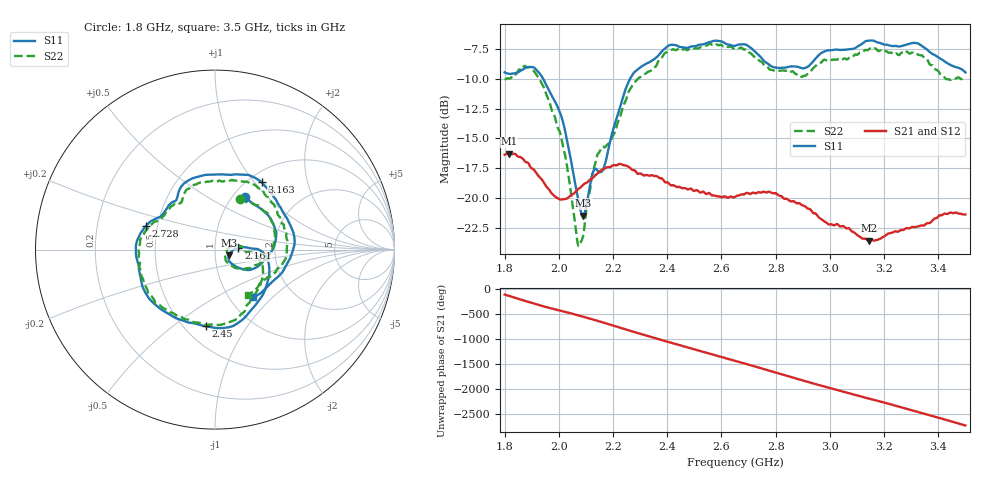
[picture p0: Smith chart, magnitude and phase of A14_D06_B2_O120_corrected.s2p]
! Created with skrf 1.9.0 (http://scikit-rf.org).
# Hz S RI R 50.0
!freq ReS11 ImS11 ReS21 ImS21 ReS12 ImS12 ReS22 ImS22
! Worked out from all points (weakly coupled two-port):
!   1601 points, 1.8 GHz to 3.5 GHz, reference 50 ohm
!   highest |S21| = -16.28 dB at 1.816 GHz (marker M1); lowest = -23.6 dB at 3.144 GHz (marker M2)
!   lowest |S11| = -21.5 dB at 2.09 GHz (marker M3), VSWR 1.18, Z = 58.4 - j3.68 ohm
!   |S11| at or under -10 dB: 1.942 GHz to 2.263 GHz (320.5 MHz wide, 15.2 % of centre)
!   |S22| runs from -24.1 to -7.0 dB; largest |S21 - S12| = 0.0025
!   S11 on the Smith chart (normalised r, x): 1.8 GHz: 1.13, +0.75; 2.161 GHz: 1.30, +0.02; 2.45 GHz: 0.63, -0.66; 2.728 GHz: 0.43, +0.13; 3.163 GHz: 1.15, +1.09; 3.5 GHz: 1.28, -0.76
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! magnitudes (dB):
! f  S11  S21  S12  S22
! 1.8 GHz  -9.5  -16.4  -16.4  -10.0
! 1.816 GHz  -9.6  -16.3  -16.3  -10.0
! 1.881 GHz  -9.0  -17.0  -17.0  -9.0
! 1.942 GHz  -10.0  -18.6  -18.6  -10.6
! 2.014 GHz  -13.5  -20.1  -20.1  -15.5
! 2.068 GHz  -19.7  -19.3  -19.3  -23.6
! 2.084 GHz  -21.3  -19.0  -19.0  -23.6
! 2.09 GHz  -21.5  -18.9  -18.9  -23.1
! 2.128 GHz  -17.7  -18.2  -18.2  -17.6
! 2.161 GHz  -17.7  -17.6  -17.6  -15.7
! 2.26 GHz  -10.1  -17.4  -17.4  -11.0
! 2.367 GHz  -8.0  -18.3  -18.2  -8.5
! 2.45 GHz  -7.3  -19.1  -19.1  -7.6
! 2.65 GHz  -7.2  -19.9  -19.9  -7.4
! 2.728 GHz  -7.8  -19.6  -19.6  -8.2
! 2.8 GHz  -9.1  -19.6  -19.6  -9.3
! 2.934 GHz  -8.7  -21.1  -21.1  -9.2
! 3.144 GHz  -6.8  -23.6  -23.5  -7.5
! 3.163 GHz  -6.8  -23.6  -23.5  -7.5
! 3.217 GHz  -7.2  -23.0  -23.0  -7.8
! 3.324 GHz  -7.0  -22.4  -22.4  -8.0
! 3.5 GHz  -9.5  -21.4  -21.4  -10.1
